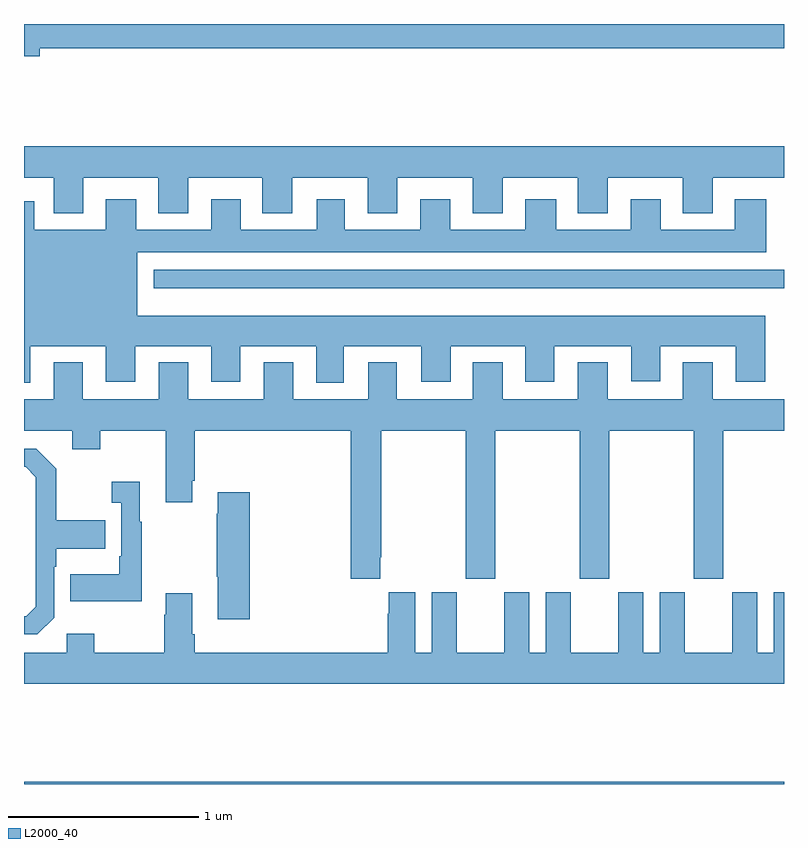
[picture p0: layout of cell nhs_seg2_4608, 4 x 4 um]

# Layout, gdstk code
import gdstk
lib = gdstk.Library(unit=1e-6, precision=1e-09)
def R(c, l, rs):  # rectangles x0, y0, x1, y1
    for r in rs: c.add(gdstk.rectangle(r[:2], r[2:], *l))
def P(c, l, *ps):  # polygons
    for p in ps: c.add(gdstk.Polygon(p, *l))
L2000_40 = (2000, 40)

nhs_seg2_4608 = lib.new_cell('nhs_seg2_4608')
R(nhs_seg2_4608, L2000_40, [(361,621.8,365,621.812), (361.682,624.41,365,624.507)])
P(nhs_seg2_4608, L2000_40, [(361.084,625.672),(365,625.672),(365,625.8),(361,625.8),(361,625.63),(361.084,625.63)],
  [(361.312,624.992),(361.706,624.992),(361.706,624.803),(361.864,624.803),(361.864,624.992),(362.255,624.992),(362.255,624.803),(362.413,624.803),(362.413,624.992),(362.81,624.992),(362.81,624.803),(362.965,624.803),(362.965,624.992),(363.362,624.992),(363.362,624.803),(363.52,624.803),(363.52,624.992),(363.914,624.992),(363.914,624.803),(364.072,624.803),(364.072,624.992),(364.466,624.992),(364.466,624.803),(364.624,624.803),(364.624,624.992),(365,624.992),(365,625.156),(361,625.156),(361,624.992),(361.157,624.992),(361.157,624.803),(361.312,624.803)],
  [(361.033,624.104),(361.43,624.104),(361.43,623.916),(361.585,623.916),(361.585,624.104),(361.985,624.104),(361.985,623.916),(362.137,623.916),(362.137,624.104),(362.537,624.104),(362.537,623.913),(362.683,623.913),(362.683,624.104),(363.092,624.104),(363.092,623.916),(363.247,623.916),(363.247,624.104),(363.638,624.104),(363.638,623.916),(363.79,623.916),(363.79,624.104),(364.196,624.104),(364.196,623.919),(364.348,623.919),(364.348,624.104),(364.745,624.104),(364.745,623.916),(364.9,623.916),(364.9,624.265),(361.597,624.265),(361.597,624.599),(364.906,624.599),(364.906,624.877),(364.742,624.877),(364.742,624.718),(364.351,624.718),(364.351,624.877),(364.193,624.877),(364.193,624.718),(363.802,624.718),(363.802,624.877),(363.638,624.877),(363.638,624.718),(363.244,624.718),(363.244,624.877),(363.086,624.877),(363.086,624.718),(362.689,624.718),(362.689,624.877),(362.54,624.877),(362.54,624.718),(362.14,624.718),(362.14,624.877),(361.985,624.877),(361.985,624.718),(361.591,624.718),(361.591,624.877),(361.43,624.877),(361.43,624.718),(361.054,624.718),(361.054,624.868),(361,624.868),(361,623.913),(361.033,623.913)],
  [(362.875,622.993),(362.88,622.993),(362.88,623.66),(363.325,623.66),(363.325,622.881),(363.48,622.881),(363.48,623.66),(363.925,623.66),(363.925,622.881),(364.08,622.881),(364.08,623.66),(364.525,623.66),(364.525,622.881),(364.68,622.881),(364.68,623.66),(365,623.66),(365,623.824),(364.624,623.824),(364.624,624.019),(364.466,624.019),(364.466,623.824),(364.072,623.824),(364.072,624.019),(363.914,624.019),(363.914,623.824),(363.52,623.824),(363.52,624.019),(363.362,624.019),(363.362,623.824),(362.962,623.824),(362.962,624.019),(362.813,624.019),(362.813,623.824),(362.416,623.824),(362.416,624.019),(362.261,624.019),(362.261,623.824),(361.864,623.824),(361.864,624.019),(361.709,624.019),(361.709,623.824),(361.309,623.824),(361.309,624.019),(361.157,624.019),(361.157,623.824),(361,623.824),(361,623.66),(361.253,623.66),(361.253,623.561),(361.401,623.561),(361.401,623.66),(361.745,623.66),(361.745,623.283),(361.885,623.283),(361.885,623.395),(361.898,623.395),(361.898,623.66),(362.72,623.66),(362.72,622.881),(362.875,622.881)],
  [(361.158,622.674),(361.158,622.943),(361.171,622.943),(361.171,623.039),(361.427,623.039),(361.427,623.187),(361.171,623.187),(361.171,623.459),(361.065,623.565),(361,623.565),(361,623.469),(361.008,623.469),(361.062,623.415),(361.062,622.734),(361.011,622.683),(361,622.683),(361,622.587),(361.071,622.587)],
  [(361.621,623.179),(361.609,623.179),(361.609,623.392),(361.461,623.392),(361.461,623.279),(361.512,623.279),(361.512,622.999),(361.5,622.999),(361.5,622.903),(361.243,622.903),(361.243,622.763),(361.621,622.763)],
  [(362.189,623.335),(362.021,623.335),(362.021,623.222),(362.014,623.222),(362.014,622.891),(362.021,622.891),(362.021,622.668),(362.189,622.668)],
  [(365,622.81),(364.946,622.81),(364.946,622.492),(364.858,622.492),(364.858,622.81),(364.727,622.81),(364.727,622.492),(364.477,622.492),(364.477,622.81),(364.346,622.81),(364.346,622.492),(364.258,622.492),(364.258,622.81),(364.127,622.81),(364.127,622.492),(363.877,622.492),(363.877,622.81),(363.746,622.81),(363.746,622.492),(363.658,622.492),(363.658,622.81),(363.527,622.81),(363.527,622.492),(363.277,622.492),(363.277,622.81),(363.146,622.81),(363.146,622.492),(363.058,622.492),(363.058,622.81),(362.921,622.81),(362.921,622.697),(362.915,622.697),(362.915,622.492),(361.898,622.492),(361.898,622.588),(361.885,622.588),(361.885,622.804),(361.745,622.804),(361.745,622.691),(361.738,622.691),(361.738,622.492),(361.371,622.492),(361.371,622.591),(361.224,622.591),(361.224,622.492),(361,622.492),(361,622.328),(365,622.328)])

lib.write_gds('nhs_seg2_4608.gds')
